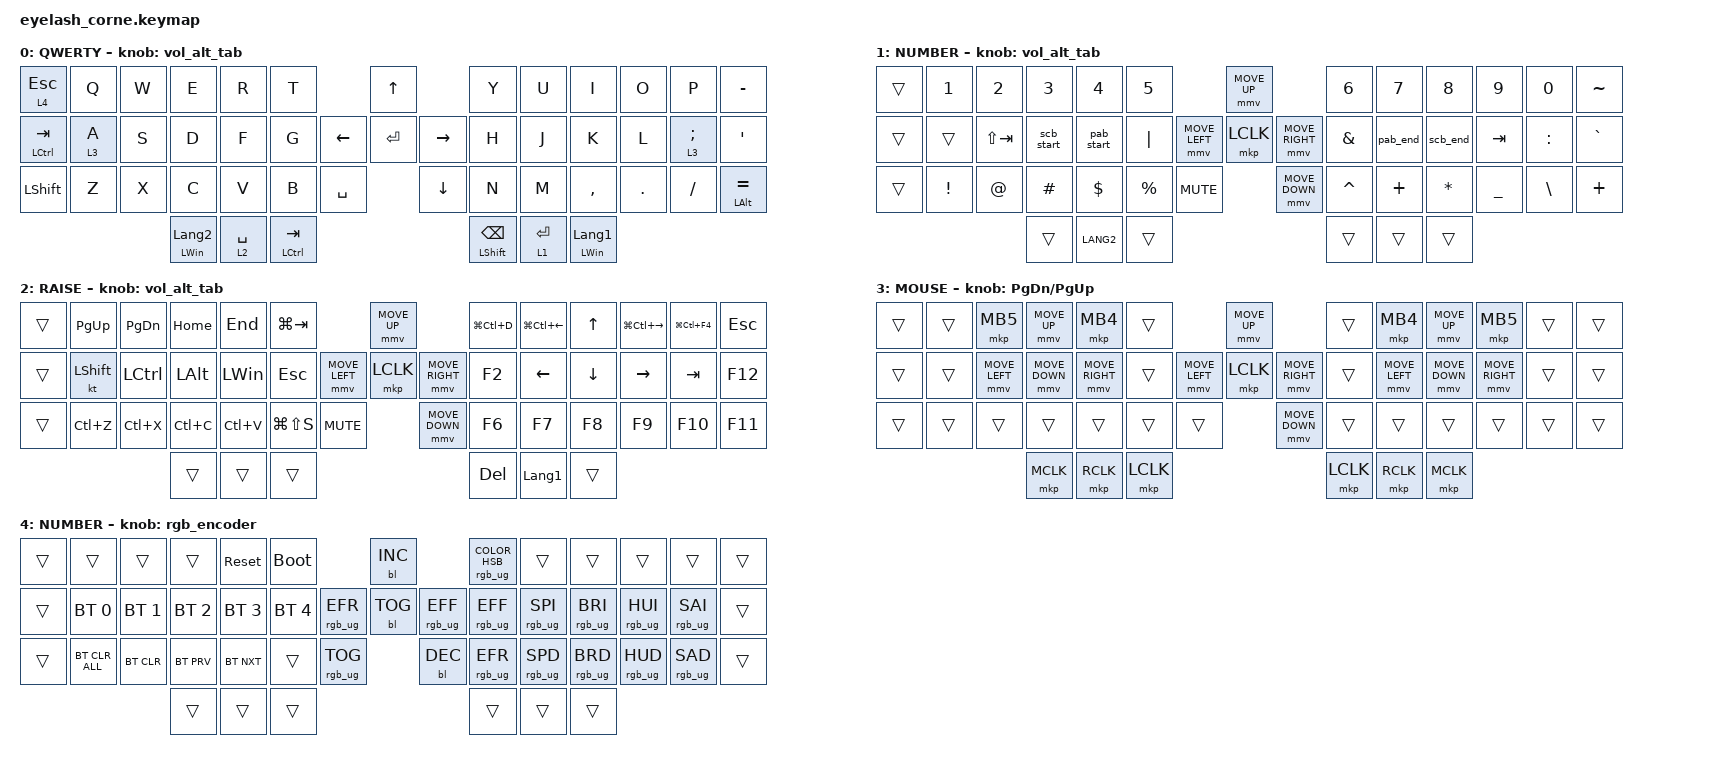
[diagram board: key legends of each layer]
#define ZMK_POINTING_DEFAULT_MOVE_VAL 1200  // 600
#define ZMK_POINTING_DEFAULT_SCRL_VAL 25   // 10

#include <input/processors.dtsi>
#include <zephyr/dt-bindings/input/input-event-codes.h>
#include <behaviors.dtsi>
#include <dt-bindings/zmk/backlight.h>
#include <dt-bindings/zmk/bt.h>
#include <dt-bindings/zmk/keys.h>
#include <dt-bindings/zmk/pointing.h>
#include <dt-bindings/zmk/rgb.h>

&mmv_input_listener { input-processors = <&zip_xy_scaler 2 1>; };

&msc_input_listener { input-processors = <&zip_scroll_scaler 2 1>; };

&msc {
    acceleration-exponent = <1>;      // 0
    time-to-max-speed-ms = <100>;       // 300
    delay-ms = <0>;                   // 0
};

&mmv {
    time-to-max-speed-ms = <500>;
    acceleration-exponent = <1>;
    trigger-period-ms = <16>;
};

/ {
    behaviors {
        td0: td0 {
            compatible = "zmk,behavior-tap-dance";
            display-name = "Shift/Caps Lock Tap Dance";
            #binding-cells = <0>;
            bindings = <&kp LEFT_SHIFT>, <&kp CAPS>;
        };

        alt_p: alt-positive {
            compatible = "zmk,behavior-mod-morph";
            #binding-cells = <0>;
            bindings = <&kp KP_N0>, <&kp LS(TAB)>;

            mods = <(MOD_LALT|MOD_RALT)>;
            keep-mods = <(MOD_LALT)>;
        };

        gui_p: gui-positive {
            compatible = "zmk,behavior-mod-morph";
            #binding-cells = <0>;
            bindings = <&kp KP_N0>, <&kp LEFT_ARROW>;

            mods = <(MOD_LGUI|MOD_RGUI)>;
            keep-mods = <(MOD_LGUI)>;
        };

        ag_p: alt-gui-positive {
            compatible = "zmk,behavior-mod-morph";
            #binding-cells = <0>;
            bindings = <&gui_p>, <&alt_p>;

            mods = <(MOD_LALT|MOD_RALT)>;
        };

        arrow_p: arrow-positive {
            compatible = "zmk,behavior-mod-morph";
            #binding-cells = <0>;
            bindings = <&kp LEFT_ARROW>, <&kp DOWN>;

            mods = <(MOD_LCTL|MOD_RCTL)>;
        };

        vol_arrow_p: volume-arrow-positive {
            compatible = "zmk,behavior-mod-morph";
            #binding-cells = <0>;
            bindings = <&kp C_VOLUME_DOWN>, <&arrow_p>;

            mods = <(MOD_LSFT|MOD_RSFT|MOD_LCTL|MOD_RCTL)>;
        };

        vol_alt_gui_p: volume-alt-gui-positive {
            compatible = "zmk,behavior-mod-morph";
            #binding-cells = <0>;
            bindings = <&vol_arrow_p>, <&ag_p>;

            mods = <(MOD_LALT|MOD_RALT|MOD_LGUI|MOD_RGUI)>;
        };

        alt_n: alt-negative {
            compatible = "zmk,behavior-mod-morph";
            #binding-cells = <0>;
            bindings = <&kp KP_N0>, <&kp TAB>;

            mods = <(MOD_LALT|MOD_RALT)>;
            keep-mods = <(MOD_LALT)>;
        };

        gui_n: gui-negative {
            compatible = "zmk,behavior-mod-morph";
            #binding-cells = <0>;
            bindings = <&kp KP_N0>, <&kp RIGHT_ARROW>;

            mods = <(MOD_LGUI|MOD_RGUI)>;
            keep-mods = <(MOD_LGUI)>;
        };

        ag_n: alt-gui-negative {
            compatible = "zmk,behavior-mod-morph";
            #binding-cells = <0>;
            bindings = <&gui_n>, <&alt_n>;

            mods = <(MOD_LALT|MOD_RALT)>;
        };

        arrow_n: arrow-negative {
            compatible = "zmk,behavior-mod-morph";
            #binding-cells = <0>;
            bindings = <&kp RIGHT_ARROW>, <&kp UP>;

            mods = <(MOD_LCTL|MOD_RCTL)>;
        };

        vol_arrow_n: volume-arrow-negative {
            compatible = "zmk,behavior-mod-morph";
            #binding-cells = <0>;
            bindings = <&kp C_VOLUME_UP>, <&arrow_n>;

            mods = <(MOD_LSFT|MOD_RSFT|MOD_LCTL|MOD_RCTL)>;
        };

        vol_alt_gui_n: volume-right-alt-gui-negative {
            compatible = "zmk,behavior-mod-morph";
            #binding-cells = <0>;
            bindings = <&vol_arrow_n>, <&ag_n>;

            mods = <(MOD_LALT|MOD_RALT|MOD_LGUI|MOD_RGUI)>;
        };

        vol_alt_tab: volume-alt-tab {
            compatible = "zmk,behavior-sensor-rotate";
            #sensor-binding-cells = <0>;
            bindings = <&vol_alt_gui_n>, <&vol_alt_gui_p>;

            tap-ms = <10>;
        };

        pab_start: pab_start {
            compatible = "zmk,behavior-tap-dance";
            label = "PAB_START";
            #binding-cells = <0>;
            bindings = <&kp LEFT_PARENTHESIS>, <&kp LESS_THAN>;
        };

        pab_end: pab_end {
            compatible = "zmk,behavior-tap-dance";
            label = "PAB_END";
            #binding-cells = <0>;
            bindings = <&kp RIGHT_PARENTHESIS>, <&kp GREATER_THAN>;
        };

        scb_start: scb_start {
            compatible = "zmk,behavior-tap-dance";
            label = "SCB_START";
            #binding-cells = <0>;
            bindings = <&kp LBKT>, <&kp LEFT_BRACE>;
        };

        scb_end: scb_end {
            compatible = "zmk,behavior-tap-dance";
            label = "SCB_END";
            #binding-cells = <0>;
            bindings = <&kp RBKT>, <&kp RBRC>;
        };
    };

    rgb_encoder: rgb_encoder {
        compatible = "zmk,behavior-sensor-rotate";
        #sensor-binding-cells = <0>;
        bindings = <&rgb_ug RGB_BRI>, <&rgb_ug RGB_BRD>;
    };

    scroll_encoder: scroll_encoder {
        compatible = "zmk,behavior-sensor-rotate";
        #sensor-binding-cells = <0>;
        bindings = <&msc SCRL_DOWN>, <&msc SCRL_UP>;

        tap-ms = <100>;
    };

    keymap {
        compatible = "zmk,keymap";

        default_layer {
            display-name = "QWERTY";
            bindings = <
&lt 4 ESCAPE          &kp Q    &kp W  &kp E                    &kp R        &kp T                                 &kp UP                &kp Y                 &kp U        &kp I                &kp O    &kp P            &kp MINUS
&mt LEFT_CONTROL TAB  &lt 3 A  &kp S  &kp D                    &kp F        &kp G                       &kp LEFT  &kp ENTER  &kp RIGHT  &kp H                 &kp J        &kp K                &kp L    &lt 3 SEMICOLON  &kp SQT
&kp LEFT_SHIFT        &kp Z    &kp X  &kp C                    &kp V        &kp B          &kp SPACE              &kp DOWN              &kp N                 &kp M        &kp COMMA            &kp DOT  &kp FSLH         &mt LALT EQUAL
                                      &mt LEFT_WIN LANGUAGE_2  &lt 2 SPACE  &mt LCTRL TAB                                               &mt LSHIFT BACKSPACE  &lt 1 ENTER  &mt LWIN LANGUAGE_1
            >;

            sensor-bindings = <&vol_alt_tab>;
        };

        number {
            display-name = "NUMBER";
            bindings = <
&trans  &kp N1           &kp N2       &kp N3      &kp N4      &kp N5                                     &mmv MOVE_UP                     &kp N6         &kp N7    &kp N8        &kp N9          &kp N0     &kp TILDE
&trans  &trans           &kp LS(TAB)  &scb_start  &pab_start  &kp PIPE                   &mmv MOVE_LEFT  &mkp LCLK       &mmv MOVE_RIGHT  &kp AMPERSAND  &pab_end  &scb_end      &kp TAB         &kp COLON  &kp GRAVE
&trans  &kp EXCLAMATION  &kp AT_SIGN  &kp HASH    &kp DOLLAR  &kp PERCENT  &kp C_MUTE                    &mmv MOVE_DOWN                   &kp CARET      &kp PLUS  &kp ASTERISK  &kp UNDERSCORE  &kp BSLH   &kp PLUS
                                      &trans      &kp LANG2   &trans                                                                      &trans         &trans    &trans
            >;

            sensor-bindings = <&vol_alt_tab>;
        };

        raise {
            display-name = "RAISE";
            bindings = <
&trans  &kp PAGE_UP     &kp PAGE_DOWN  &kp HOME   &kp END       &kp LG(TAB)                                  &mmv MOVE_UP                     &kp LG(LC(D))  &kp LG(LC(LEFT_ARROW))  &kp UP_ARROW    &kp LG(LC(RIGHT_ARROW))  &kp LG(LC(F4))  &kp ESC
&trans  &kt LEFT_SHIFT  &kp LCTRL      &kp LALT   &kp LEFT_WIN  &kp ESCAPE                   &mmv MOVE_LEFT  &mkp LCLK       &mmv MOVE_RIGHT  &kp F2         &kp LEFT_ARROW          &kp DOWN_ARROW  &kp RIGHT                &kp TAB         &kp F12
&trans  &kp LC(Z)       &kp LC(X)      &kp LC(C)  &kp LC(V)     &kp LG(LS(S))  &kp C_MUTE                    &mmv MOVE_DOWN                   &kp F6         &kp F7                  &kp F8          &kp F9                   &kp F10         &kp F11
                                       &trans     &trans        &trans                                                                        &kp DELETE     &kp LANGUAGE_1          &trans
            >;

            sensor-bindings = <&vol_alt_tab>;
        };

        mouse {
            bindings = <
&trans  &trans  &mkp MB5        &mmv MOVE_UP    &mkp MB4         &trans                               &mmv MOVE_UP                     &trans     &mkp MB4        &mmv MOVE_UP    &mkp MB5         &trans  &trans
&trans  &trans  &mmv MOVE_LEFT  &mmv MOVE_DOWN  &mmv MOVE_RIGHT  &trans               &mmv MOVE_LEFT  &mkp LCLK       &mmv MOVE_RIGHT  &trans     &mmv MOVE_LEFT  &mmv MOVE_DOWN  &mmv MOVE_RIGHT  &trans  &trans
&trans  &trans  &trans          &trans          &trans           &trans     &trans                    &mmv MOVE_DOWN                   &trans     &trans          &trans          &trans           &trans  &trans
                                &mkp MCLK       &mkp RCLK        &mkp LCLK                                                             &mkp LCLK  &mkp RCLK       &mkp MCLK
            >;

            label = "MOUSE";
            sensor-bindings = <&inc_dec_kp PAGE_DOWN PAGE_UP>;
        };

        layer_5 {
            display-name = "NUMBER";
            bindings = <
&trans  &trans          &trans        &trans        &sys_reset    &bootloader                                       &bl BL_INC                   &rgb_ug RGB_COLOR_HSB(0,0,100)  &trans           &trans           &trans           &trans           &trans
&trans  &bt BT_SEL 0    &bt BT_SEL 1  &bt BT_SEL 2  &bt BT_SEL 3  &bt BT_SEL 4                     &rgb_ug RGB_EFR  &bl BL_TOG  &rgb_ug RGB_EFF  &rgb_ug RGB_EFF                 &rgb_ug RGB_SPI  &rgb_ug RGB_BRI  &rgb_ug RGB_HUI  &rgb_ug RGB_SAI  &trans
&trans  &bt BT_CLR_ALL  &bt BT_CLR    &bt BT_PRV    &bt BT_NXT    &trans        &rgb_ug RGB_TOG                     &bl BL_DEC                   &rgb_ug RGB_EFR                 &rgb_ug RGB_SPD  &rgb_ug RGB_BRD  &rgb_ug RGB_HUD  &rgb_ug RGB_SAD  &trans
                                      &trans        &trans        &trans                                                                         &trans                          &trans           &trans
            >;

            sensor-bindings = <&rgb_encoder>;
        };
    };
};
